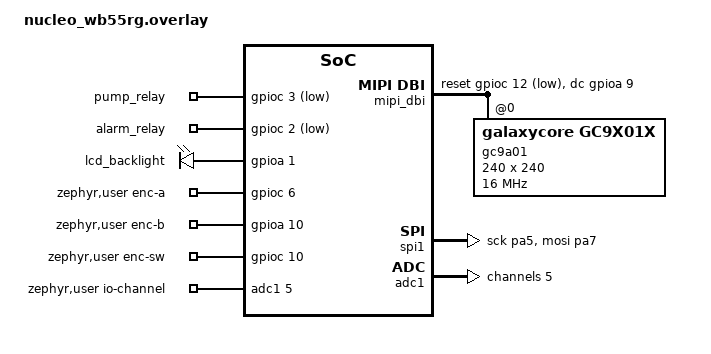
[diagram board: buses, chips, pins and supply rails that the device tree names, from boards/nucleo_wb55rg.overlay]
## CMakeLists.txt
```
# CNC Vacuum Pump Controller — Zephyr application (STM32WB55 / P-NUCLEO-WB55)
# Build against the existing workspace at /Users/robert/Documents/dev-env/zephyresp32s3
#
#   cd /Users/robert/Documents/dev-env/zephyresp32s3
#   source .venv/bin/activate
#   west build -b nucleo_wb55rg /Users/robert/Documents/shop-dev/shop-tools/CNC_Vac_Pump/stm32/zephyrwb
#   west flash        # single ST-LINK USB cable does flash + console
#
cmake_minimum_required(VERSION 3.20.0)

find_package(Zephyr REQUIRED HINTS $ENV{ZEPHYR_BASE})
project(cnc_vac_pump_wb)

target_sources(app PRIVATE
  src/main.c
  src/vac_filter.c
  src/encoder.c
)

# --- SquareLine UI (LVGL 9 re-export) -------------------------------------
# Exported UI in src/ui/. The SquareLine-generated src/ui/CMakeLists.txt (an
# ESP-IDF component file) is ignored; we just compile the generated .c files.
file(GLOB_RECURSE UI_SOURCES ${CMAKE_CURRENT_SOURCE_DIR}/src/ui/*.c)
target_sources(app PRIVATE ${UI_SOURCES})
target_include_directories(app PRIVATE ${CMAKE_CURRENT_SOURCE_DIR}/src)
```

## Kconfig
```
# CNC Vacuum Pump Controller — application options

config VAC_SIM
	bool "Simulate the vacuum sensor (no ADC hardware needed)"
	help
	  Feed a synthetic triangle-wave vacuum value into the control loop instead
	  of sampling the ADC, so the display, needle, setpoint bugs, and pump-relay
	  logic can be exercised before the analog sensor is wired.

source "Kconfig.zephyr"
```

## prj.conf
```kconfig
# ---- CNC Vacuum Pump Controller :: STM32WB55 (P-NUCLEO-WB55) / Zephyr 4.4 / LVGL 9.5 ----
# NOTE: Zephyr Kconfig int/string values must NOT have trailing inline comments.

# Peripherals
CONFIG_GPIO=y
CONFIG_ADC=y
CONFIG_SPI=y

# Uncomment to run without a real sensor (synthetic sweep). See README.
# CONFIG_VAC_SIM=y

# Display stack: GC9A01 over MIPI-DBI-SPI
CONFIG_DISPLAY=y
CONFIG_MIPI_DBI=y
CONFIG_GC9X01X=y

# LVGL (Zephyr module, LVGL 9.x)
CONFIG_LVGL=y
CONFIG_LV_USE_LOG=n
CONFIG_LV_COLOR_DEPTH_16=y
# GC9A01 MCU-16bit iface wants big-endian pixels; LVGL is little-endian.
# Without this the display shows a purplish/green cast (byte-swapped RGB565).
CONFIG_LV_COLOR_16_SWAP=y
# LVGL heap (WB55RG has 192 KiB SRAM1 — keep the pool modest)
CONFIG_LV_Z_MEM_POOL_SIZE=32768
CONFIG_LV_Z_FLUSH_THREAD=y
CONFIG_LV_USE_LABEL=y
CONFIG_LV_FONT_MONTSERRAT_14=y
CONFIG_LV_FONT_MONTSERRAT_28=y

# Kernel
CONFIG_MAIN_STACK_SIZE=4096
CONFIG_HEAP_MEM_POOL_SIZE=16384
CONFIG_PRINTK=y
CONFIG_LOG=y
```

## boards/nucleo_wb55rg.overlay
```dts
/*
 * CNC Vacuum Pump Controller — P-NUCLEO-WB55 (nucleo_wb55rg) board overlay.
 *
 * Wiring goes to the ST Morpho headers (CN7 / CN10). Nothing in this overlay
 * (or the firmware) is header-specific: the Morpho and Arduino headers bring
 * out the SAME MCU pins, so devicetree references the MCU port/pin (e.g. gpioa
 * 5 = PA5) and is identical either way. Comments below give the Morpho
 * connector-pin next to the MCU pin for the physical wiring; see WIRING.html.
 *
 * Unlike the ESP32-S3, the STM32WB55 has no pin traps — the only pins to avoid
 * are those the board already claims:
 *   PB6/PB7  = USART1 console (ST-LINK VCP)   [CN10-34 / CN7-... , leave alone]
 *   PC0/PC1  = LPUART1 (BLE co-processor)
 *   PB8/PB9  = I2C1
 *   PA11/12  = USB
 *   PA4..PA7 = SPI1 (our display bus)
 *   PA13/PA14 = SWD, NRST, PH3/BOOT0          (Morpho-only; touching these
 *               breaks flashing — the Arduino header hid them)
 *
 * Console + flashing both go over the single ST-LINK USB cable — no overlay
 * changes needed for that (board default zephyr,console = &usart1).
 */

#include <zephyr/dt-bindings/gpio/gpio.h>
#include <zephyr/dt-bindings/adc/adc.h>
#include <zephyr/dt-bindings/display/panel.h>

/ {
	aliases {
		vac-pump  = &pump_relay;
		vac-alarm = &alarm_relay;
		lcd-bl    = &lcd_backlight;
		/* Heartbeat uses the onboard green LED (board alias led1 = green_led_2). */
	};

	chosen {
		zephyr,display = &gc9a01;
	};

	/* Relays are active-low (matches enum relayType{ On=0, Off=1 }). */
	relays {
		compatible = "gpio-leds";
		pump_relay:  pump  { gpios = <&gpioc 3 GPIO_ACTIVE_LOW>; };   /* CN7-36 (A4) = PC3 */
		alarm_relay: alarm { gpios = <&gpioc 2 GPIO_ACTIVE_LOW>; };   /* CN7-38 (A5) = PC2 */
	};

	backlight {
		compatible = "gpio-leds";
		lcd_backlight: bl { gpios = <&gpioa 1 GPIO_ACTIVE_HIGH>; };   /* CN7-32 (A2) = PA1 */
	};

	/* Rotary encoder + ADC channel handle for the app (polled in encoder.c). */
	zephyr,user {
		io-channels  = <&adc1 5>;                          /* CN7-34 (A3) = PA0 = ADC1_IN5 */
		enc-a-gpios  = <&gpioc 6  GPIO_PULL_UP>;           /* CN10-33 (D2) = PC6  */
		enc-b-gpios  = <&gpioa 10 GPIO_PULL_UP>;           /* CN10-31 (D3) = PA10 */
		enc-sw-gpios = <&gpioc 10 GPIO_PULL_UP>;           /* CN10-29 (D4) = PC10 */
	};

	/* GC9A01 1.28" round LCD over MIPI-DBI-SPI on the Arduino SPI header. */
	mipi_dbi {
		compatible = "zephyr,mipi-dbi-spi";
		spi-dev = <&spi1>;
		dc-gpios    = <&gpioa 9  GPIO_ACTIVE_HIGH>;        /* CN10-19 (D9) = PA9  */
		reset-gpios = <&gpioc 12 GPIO_ACTIVE_LOW>;         /* CN10-21 (D8) = PC12 */
		write-only;
		#address-cells = <1>;
		#size-cells = <0>;

		gc9a01: gc9a01@0 {
			status = "okay";
			compatible = "galaxycore,gc9x01x";
			reg = <0>;
			mipi-max-frequency = <16000000>;              /* SPI1 = PCLK2/2 = 16 MHz */
			pixel-format = <PANEL_PIXEL_FORMAT_RGB_565>;
			display-inversion;                            /* GC9A01 needs inversion ON */
			width = <240>;
			height = <240>;
		};
	};
};

/* Display SPI bus: SCK=PA5 (CN10-11/D13), MOSI=PA7 (CN10-15/D11),
 * CS=PA4 (CN10-17/D10) as a GPIO.
 * Drop HW-NSS (PA4) and MISO (PA6): write-only panel, CS via cs-gpios. */
&spi1 {
	pinctrl-0 = <&spi1_sck_pa5 &spi1_mosi_pa7>;
	pinctrl-names = "default";
	cs-gpios = <&gpioa 4 GPIO_ACTIVE_LOW>;
	status = "okay";
};

/* Vacuum sensor on ADC1_IN5 (PA0 = CN7-34 / A3). Board already pinctrls PA0.
 * Front-end (external): MPXV4115V (5 V supply) -> R1 5k / R2 10k divider ->
 * ~0.13..3.07 V into this pin (safely inside the 3.3 V VREF+ full scale).
 * The divider's ~3.3 kOhm source impedance wants a long sample time, so use
 * 47.5 ADC cycles (plenty for a slow-moving vacuum signal). */
&adc1 {
	#address-cells = <1>;
	#size-cells = <0>;

	channel@5 {
		reg = <5>;
		zephyr,gain = "ADC_GAIN_1";
		zephyr,reference = "ADC_REF_INTERNAL";
		zephyr,acquisition-time = <ADC_ACQ_TIME(ADC_ACQ_TIME_TICKS, 47)>;
		zephyr,resolution = <12>;
	};
};
```

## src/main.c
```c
/*
 * CNC Vacuum Pump Controller — Zephyr port (STM32WB55 / P-NUCLEO-WB55 / LVGL 9.5)
 *
 * Replaces the Arduino setup()/loop() with:
 *   - a k_timer + workqueue running the 10 ms vacuum control loop, and
 *   - the LVGL handler loop driving the round display.
 *
 * The UI here is a minimal LVGL-9 PLACEHOLDER so the project builds and runs
 * before the SquareLine artwork is re-exported for LVGL 9. Once src/ui/ exists,
 * enable it in CMakeLists.txt and replace ui_placeholder()/ui_update() with
 * ui_init() plus the ui_* widget calls (needle, bugs, LED).
 *
 * Heartbeat uses the onboard green LED (LD2 / board alias led1).
 */
#include <zephyr/kernel.h>
#include <zephyr/device.h>
#include <zephyr/drivers/gpio.h>
#include <zephyr/drivers/adc.h>
#include <zephyr/drivers/display.h>
#include <zephyr/logging/log.h>
#include <lvgl.h>
#include <stdio.h>

#include "vac_filter.h"
#include "app_state.h"
#include "ui/ui.h"

LOG_MODULE_REGISTER(vac, LOG_LEVEL_INF);

/* ---- Hardware handles from devicetree ---------------------------------- */
static const struct gpio_dt_spec pump  = GPIO_DT_SPEC_GET(DT_ALIAS(vac_pump),  gpios);
static const struct gpio_dt_spec alarm = GPIO_DT_SPEC_GET(DT_ALIAS(vac_alarm), gpios);
static const struct gpio_dt_spec grn   = GPIO_DT_SPEC_GET(DT_ALIAS(led1),      gpios); /* onboard green LED */
static const struct gpio_dt_spec bl    = GPIO_DT_SPEC_GET(DT_ALIAS(lcd_bl),    gpios);
#ifndef CONFIG_VAC_SIM
static const struct adc_dt_spec  vac_adc =
	ADC_DT_SPEC_GET_BY_IDX(DT_PATH(zephyr_user), 0);
#endif

/* Latest values shared with the UI loop: computed vacuum (inHg * 10) and the
 * filtered raw ADC reading (0..4090, used for the needle angle). */
static volatile int g_vac_val;
static volatile int g_vac_raw;

/* ---- 10 ms vacuum control loop (was the tm4 block in loop()) ------------ */
static void vac_work_handler(struct k_work *w)
{
	ARG_UNUSED(w);

	uint16_t raw;

#ifdef CONFIG_VAC_SIM
	/* Synthetic triangle sweep 0..4090..0 to exercise the UI + relay logic
	 * without a real sensor. ~2 s per direction at the 10 ms tick. */
	static int sim_val;
	static int sim_dir = 1;

	sim_val += sim_dir * 20;
	if (sim_val >= 4090) {
		sim_val = 4090;
		sim_dir = -1;
	} else if (sim_val <= 0) {
		sim_val = 0;
		sim_dir = 1;
	}
	raw = (uint16_t)sim_val;
#else
	int16_t sample = 0;
	struct adc_sequence seq = {
		.buffer = &sample,
		.buffer_size = sizeof(sample),
	};

	adc_sequence_init_dt(&vac_adc, &seq);
	if (adc_read_dt(&vac_adc, &seq) != 0) {
		return;
	}
	raw = (sample < 0) ? 0 : (uint16_t)sample;
#endif

	uint16_t filt = vac_filter_push(raw);
	if (filt > 4090) {
		filt = 4090;
	}

	g_vac_raw = filt;

	/* Two-point calibration (measured 2026-08-02) against the shop vacuum gauge on
	 * the VB2200 manifold. filt (ADC counts) -> vacuum in inHg*10, linear:
	 *   atmosphere   filt=4044 -> 0.0 inHg
	 *   full vacuum  filt=709  -> 29.0 inHg   (sealed line, reference gauge = 29")
	 * vac(inHg*10) = 290 * (4044 - filt) / (4044 - 709). Both endpoints are real
	 * measurements, so the divider ratio and VREF drop out. Clamp 0..300. */
	const int cnt_atm = 4044;   /* counts at atmosphere  -> 0.0 inHg  */
	const int cnt_ref = 709;    /* counts at full vacuum -> 29.0 inHg */
	const int ref_x10 = 290;    /* 29.0 inHg (inHg * 10)              */
	int vac_val = (ref_x10 * (cnt_atm - (int)filt)) / (cnt_atm - cnt_ref);
	if (vac_val < 0) {
		vac_val = 0;
	} else if (vac_val > 300) {
		vac_val = 300;
	}
	g_vac_val = vac_val;

	if (vac_val <= app_red) {
		gpio_pin_set_dt(&pump, 1);   /* On  (active-low handled by DT) */
	}
	if (vac_val >= app_grn) {
		gpio_pin_set_dt(&pump, 0);   /* Off */
	}

	/* TODO: drive the alarm relay (never implemented in the original). */
}
K_WORK_DEFINE(vac_work, vac_work_handler);

static void vac_timer_fn(struct k_timer *t)
{
	ARG_UNUSED(t);
	k_work_submit(&vac_work);
}
K_TIMER_DEFINE(vac_timer, vac_timer_fn, NULL);

/* ---- Drive the SquareLine (LVGL 9) widgets ----------------------------- */
/* Angle units are 0.1 deg (LVGL: 0..3600), matching the original firmware. */
static void ui_update(void)
{
	char buf[12];
	int v = g_vac_val;
	int av = (v < 0) ? -v : v;

	/* Vacuum value label, e.g. "24.5". */
	snprintf(buf, sizeof(buf), "%d.%d", v / 10, av % 10);
	lv_label_set_text(ui_vacLabel, buf);

	/* Needle: calibrated vacuum (inHg*10) mapped to the gauge face. The needle
	 * image sits 135 deg off the setpoint-bug frame, so 0 inHg -> 270.0 deg (dial
	 * start), 15 -> 135.0 deg (center), 30 inHg -> 0 deg. Verified against the
	 * original raw*2700/4096 mapping (atmosphere ~270 deg) + on-screen check. */
	lv_image_set_rotation(ui_Needle, (int32_t)(2700 - 9 * v));

	/* Setpoint "bugs": map inHg*10 (300..0) -> -135.0..135.0 deg. */
	lv_image_set_rotation(ui_redBugImg, (int32_t)(1350 - 9 * app_red));
	lv_image_set_rotation(ui_grnBugImg, (int32_t)(1350 - 9 * app_grn));

	/* Red LED: shown at/below the pump-on setpoint, hidden at/above pump-off. */
	if (v <= app_red) {
		lv_obj_remove_flag(ui_ledRedImage, LV_OBJ_FLAG_HIDDEN);
	}
	if (v >= app_grn) {
		lv_obj_add_flag(ui_ledRedImage, LV_OBJ_FLAG_HIDDEN);
	}
}

/* ------------------------------------------------------------------------ */
int main(void)
{
	const struct device *disp = DEVICE_DT_GET(DT_CHOSEN(zephyr_display));

	if (!device_is_ready(disp)) {
		LOG_ERR("display device not ready");
		return 0;
	}
#ifndef CONFIG_VAC_SIM
	if (!adc_is_ready_dt(&vac_adc)) {
		LOG_ERR("ADC not ready");
		return 0;
	}
	adc_channel_setup_dt(&vac_adc);
#endif

	gpio_pin_configure_dt(&pump,  GPIO_OUTPUT_INACTIVE);   /* pump Off */
	gpio_pin_configure_dt(&alarm, GPIO_OUTPUT_INACTIVE);   /* alarm Off */
	gpio_pin_configure_dt(&grn,   GPIO_OUTPUT_ACTIVE);
	gpio_pin_configure_dt(&bl,    GPIO_OUTPUT_ACTIVE);      /* backlight on */

	ui_init();                   /* SquareLine LVGL-9 UI */
	lv_timer_handler();
	display_blanking_off(disp);

	encoder_start();
	k_timer_start(&vac_timer, K_MSEC(10), K_MSEC(10));

	LOG_INF("CNC Vac Pump Controller up (LVGL %d.%d.%d)",
		lv_version_major(), lv_version_minor(), lv_version_patch());
#ifdef CONFIG_VAC_SIM
	LOG_WRN("VAC_SIM enabled: synthetic sensor sweep (no ADC)");
#endif

	uint32_t last_ui = 0;

	while (1) {
		uint32_t now = k_uptime_get_32();

		if (now - last_ui >= 100) {      /* refresh readout ~10 Hz */
			last_ui = now;
			ui_update();
			gpio_pin_toggle_dt(&grn);    /* green-LED heartbeat */
		}

		uint32_t idle = lv_timer_handler();
		if (idle < 5) {
			idle = 5;
		} else if (idle > 20) {
			idle = 20;
		}
		k_msleep(idle);
	}

	return 0;
}
```

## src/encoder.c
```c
/*
 * Rotary-encoder task (faithful port of the original polling loop).
 *
 * Reads A/B/SW as raw levels (pull-ups enabled, idle = HIGH) exactly like the
 * Arduino digitalRead() version, counts on falling edges, and keeps the two
 * setpoint "bugs" ordered (green always >= red + 5). The button cycles the
 * active bug.
 */
#include <zephyr/kernel.h>
#include <zephyr/drivers/gpio.h>
#include "app_state.h"

#define RED_BUG 1
#define GRN_BUG 2
#define MAX_CNT 295
#define MIN_CNT 5

/* Shared setpoints (inHg * 10). Defaults match the original firmware. */
volatile int16_t app_red = 200;
volatile int16_t app_grn = 250;

#define ENC_NODE DT_PATH(zephyr_user)
static const struct gpio_dt_spec enc_a  = GPIO_DT_SPEC_GET(ENC_NODE, enc_a_gpios);
static const struct gpio_dt_spec enc_b  = GPIO_DT_SPEC_GET(ENC_NODE, enc_b_gpios);
static const struct gpio_dt_spec enc_sw = GPIO_DT_SPEC_GET(ENC_NODE, enc_sw_gpios);

#define ENC_STACK_SIZE 2048
#define ENC_PRIORITY   5
static K_THREAD_STACK_DEFINE(enc_stack, ENC_STACK_SIZE);
static struct k_thread enc_thread_data;

static void enc_thread(void *p1, void *p2, void *p3)
{
	ARG_UNUSED(p1);
	ARG_UNUSED(p2);
	ARG_UNUSED(p3);

	gpio_pin_configure_dt(&enc_a,  GPIO_INPUT);
	gpio_pin_configure_dt(&enc_b,  GPIO_INPUT);
	gpio_pin_configure_dt(&enc_sw, GPIO_INPUT);

	int16_t cnt = app_grn, cnt_old = app_grn;
	uint8_t active_bug = GRN_BUG;
	bool cnt_lck = false;
	int sw_old = 1;

	while (true) {
		int a  = gpio_pin_get_dt(&enc_a);   /* raw level: 1 = idle/high */
		int b  = gpio_pin_get_dt(&enc_b);
		int sw = gpio_pin_get_dt(&enc_sw);

		/* Count up on falling edge of A with B still high. */
		if (!a && b) {
			if (!cnt_lck) {
				if (cnt < MAX_CNT) {
					cnt += 5;
				}
				if (cnt > MAX_CNT) {
					cnt = MAX_CNT;
				}
				cnt_lck = true;
			}
		}

		/* Count down on falling edge of B with A still high. */
		if (a && !b) {
			if (!cnt_lck) {
				if (cnt > MIN_CNT) {
					cnt -= 5;
				}
				if (cnt < MIN_CNT) {
					cnt = MIN_CNT;
				}
				cnt_lck = true;
			}
		}

		/* Release the lockout only when both channels return high. */
		if (a && b) {
			cnt_lck = false;
		}

		/* Button press (active low) cycles the active bug. */
		if (sw == 0 && sw_old == 1) {
			if (++active_bug > GRN_BUG) {
				active_bug = RED_BUG;
				cnt = app_red;
			} else {
				cnt = app_grn;
			}
		}
		sw_old = sw;

		/* Sync counter into the active bug. */
		if (active_bug == RED_BUG) {
			app_red = cnt;
		} else {
			app_grn = cnt;
		}

		/* Push the inactive bug if the two would cross. */
		if (active_bug == RED_BUG && app_red >= app_grn) {
			app_grn = app_red + 5;
		}
		if (active_bug == GRN_BUG && app_grn <= app_red) {
			app_red = app_grn - 5;
		}

		cnt_old = cnt;
		ARG_UNUSED(cnt_old);
		k_msleep(10);
	}
}

void encoder_start(void)
{
	k_thread_create(&enc_thread_data, enc_stack, ENC_STACK_SIZE,
			enc_thread, NULL, NULL, NULL,
			ENC_PRIORITY, 0, K_NO_WAIT);
	k_thread_name_set(&enc_thread_data, "encoder");
}
```

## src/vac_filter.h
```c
/*
 * Median + running-average filter for the analog vacuum sensor.
 * Ported verbatim from getFilteredVacSensor() in the original firmware, with
 * the ring-buffer index off-by-one (OOB write) fixed.
 */
#ifndef VAC_FILTER_H
#define VAC_FILTER_H

#include <stdint.h>

/* Push one raw ADC sample; returns the filtered (median-then-averaged) value. */
uint16_t vac_filter_push(uint16_t raw);

#endif /* VAC_FILTER_H */
```
